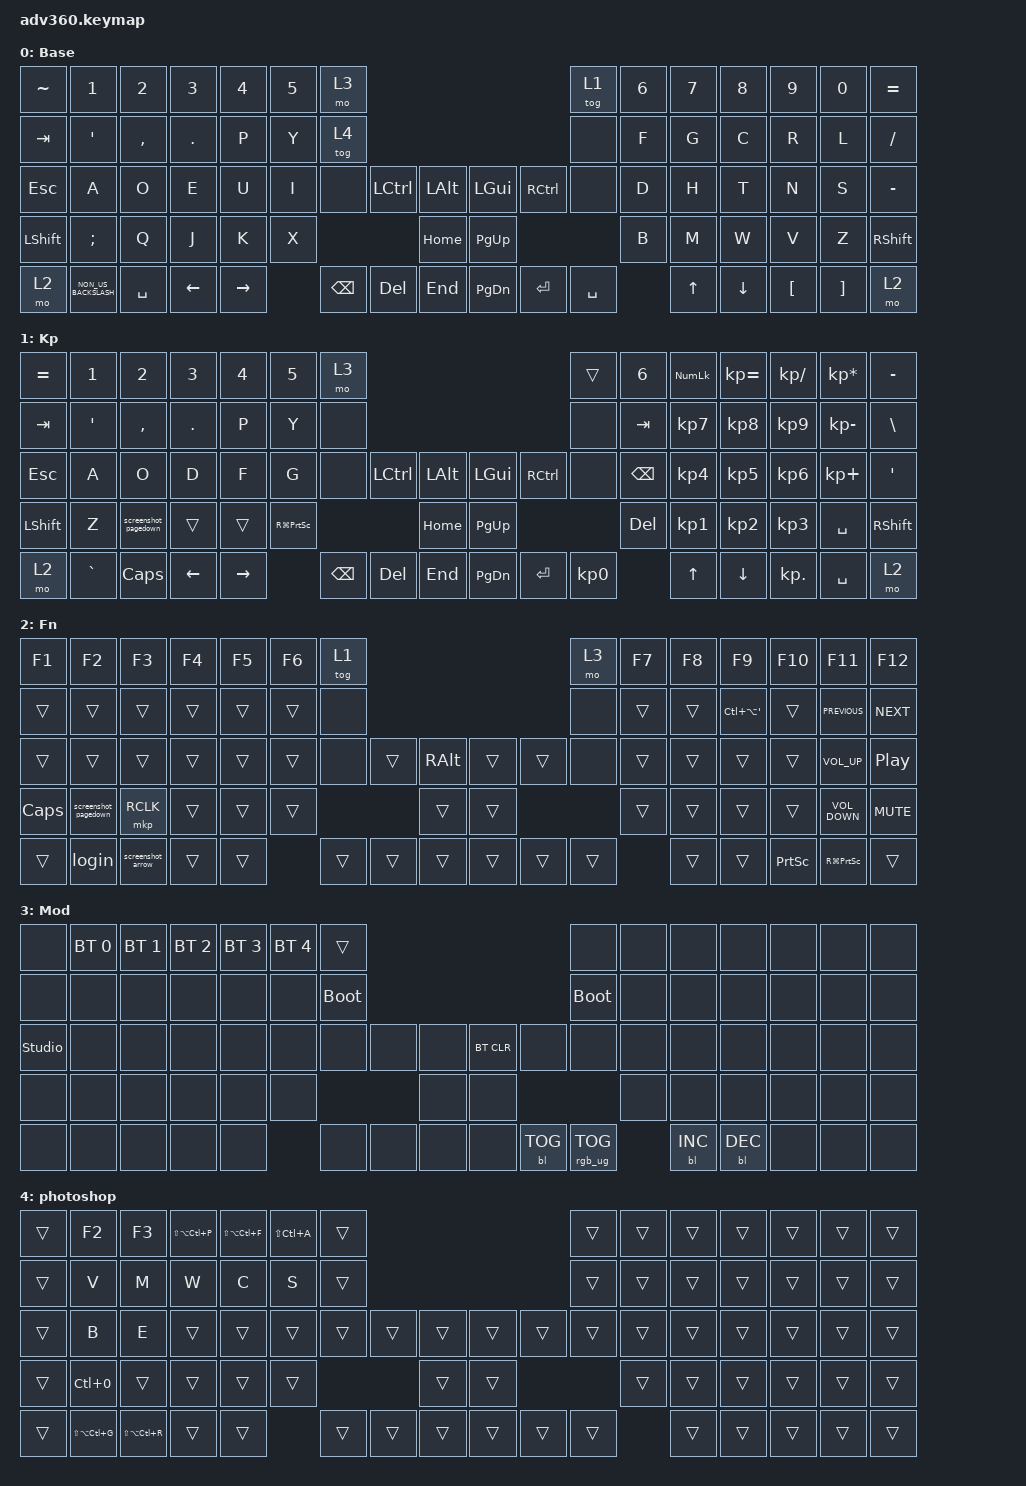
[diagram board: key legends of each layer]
#include <dt-bindings/zmk/stp.h>
#include <behaviors.dtsi>
#include <dt-bindings/zmk/backlight.h>
#include <dt-bindings/zmk/bt.h>
#include <dt-bindings/zmk/keys.h>
#include <dt-bindings/zmk/pointing.h>
#include <dt-bindings/zmk/rgb.h>

/ {
    behaviors {
        #include "macros.dtsi"
      #include "version.dtsi"

        hm: homerow_mods {
            compatible = "zmk,behavior-hold-tap";
            label = "HOMEROW_MODS";
            #binding-cells = <2>;
            tapping-term-ms = <200>;
            quick_tap_ms = <175>;
            flavor = "tap-preferred";
            bindings = <&kp>, <&kp>;
        };
    };

    macros {
        screenshot_pagedown: screenshot_pagedown {
            compatible = "zmk,behavior-macro";
            #binding-cells = <0>;
            bindings = <&macro_wait_time 500>, <&kp RG(PRINTSCREEN) &kp RIGHT>;

            label = "SCREENSHOT_PAGEDOWN";
            wait-ms = <0>;
        };

        login: login {
            compatible = "zmk,behavior-macro";
            #binding-cells = <0>;
            bindings = <&none &kp T &kp O &kp M>;
            label = "LOGIN";
        };

        screenshot_arrow: screenshot_arrow {
            compatible = "zmk,behavior-macro";
            #binding-cells = <0>;
            bindings = <&kp RG(PRINTSCREEN) &kp DOWN_ARROW &kp DOWN &kp DOWN &kp DOWN &kp DOWN &kp DOWN &kp DOWN &kp DOWN_ARROW &kp DOWN_ARROW &kp DOWN_ARROW &kp DOWN_ARROW &kp DOWN_ARROW &kp DOWN_ARROW &kp DOWN_ARROW &kp DOWN_ARROW &kp DOWN_ARROW &kp DOWN_ARROW &kp DOWN_ARROW &kp DOWN_ARROW &kp DOWN_ARROW &kp DOWN_ARROW &kp DOWN_ARROW &kp DOWN_ARROW &kp DOWN &kp DOWN_ARROW &kp DOWN_ARROW &kp DOWN_ARROW &kp DOWN_ARROW &kp DOWN_ARROW &kp DOWN_ARROW &kp DOWN_ARROW &kp DOWN_ARROW &kp DOWN_ARROW &kp DOWN_ARROW &kp DOWN_ARROW &kp DOWN_ARROW &kp DOWN_ARROW &kp DOWN_ARROW &kp DOWN_ARROW &kp DOWN_ARROW>;
            label = "SCREENSHOT_ARROW";
        };
    };

    keymap {
        compatible = "zmk,keymap";

        default_layer {
            display-name = "Base";
            bindings = <
&kp TILDE  &kp N1                &kp N2     &kp N3      &kp N4     &kp N5  &mo 3                                                        &tog 1     &kp N6  &kp N7  &kp N8    &kp N9    &kp N0    &kp EQUAL
&kp TAB    &kp SQT               &kp COMMA  &kp PERIOD  &kp P      &kp Y   &tog 4                                                       &none      &kp F   &kp G   &kp C     &kp R     &kp L     &kp SLASH
&kp ESC    &kp A                 &kp O      &kp E       &kp U      &kp I   &none     &kp LCTRL  &kp LALT      &kp LGUI       &kp RCTRL  &none      &kp D   &kp H   &kp T     &kp N     &kp S     &kp MINUS
&kp LSHFT  &kp SEMICOLON         &kp Q      &kp J       &kp K      &kp X                        &kp HOME      &kp PAGE_UP                          &kp B   &kp M   &kp W     &kp V     &kp Z     &kp RSHFT
&mo 2      &kp NON_US_BACKSLASH  &kp SPACE  &kp LEFT    &kp RIGHT          &kp BSPC  &kp DEL    &kp END       &kp PAGE_DOWN  &kp ENTER  &kp SPACE          &kp UP  &kp DOWN  &kp LBKT  &kp RBKT  &mo 2
            >;
        };

        keypad {
            display-name = "Kp";
            bindings = <
&kp EQUAL  &kp N1     &kp N2                &kp N3      &kp N4     &kp N5         &mo 3                                                    &trans     &kp N6         &kp KP_NUM  &kp KP_EQUAL  &kp KP_DIVIDE  &kp KP_MULTIPLY  &kp MINUS
&kp TAB    &kp APOS   &kp COMMA             &kp PERIOD  &kp P      &kp Y          &none                                                    &none      &kp TAB        &kp KP_N7   &kp KP_N8     &kp KP_N9      &kp KP_MINUS     &kp BSLH
&kp ESC    &kp A      &kp O                 &kp D       &kp F      &kp G          &none     &kp LCTRL  &kp LALT      &kp LGUI   &kp RCTRL  &none      &kp BACKSPACE  &kp KP_N4   &kp KP_N5     &kp KP_N6      &kp KP_PLUS      &kp SQT
&kp LSHFT  &kp Z      &screenshot_pagedown  &trans      &trans     &kp RG(PSCRN)                       &kp HOME      &kp PG_UP                        &kp DELETE     &kp KP_N1   &kp KP_N2     &kp KP_N3      &kp SPACE        &kp RSHFT
&mo 2      &kp GRAVE  &kp CAPS              &kp LEFT    &kp RIGHT                 &kp BSPC  &kp DEL    &kp END       &kp PG_DN  &kp ENTER  &kp KP_N0                 &kp UP      &kp DOWN      &kp KP_DOT     &kp SPACE        &mo 2
            >;
        };

        fn {
            display-name = "Fn";
            bindings = <
&kp F1    &kp F2                &kp F3             &kp F4  &kp F5  &kp F6  &tog 1                                             &mo 3   &kp F7  &kp F8  &kp F9           &kp F10    &kp F11            &kp F12
&trans    &trans                &trans             &trans  &trans  &trans  &none                                              &none   &trans  &trans  &kp LC(LA(SQT))  &trans     &kp C_PREVIOUS     &kp C_NEXT
&trans    &trans                &trans             &trans  &trans  &trans  &none   &trans  &kp RIGHT_ALT      &trans  &trans  &none   &trans  &trans  &trans           &trans     &kp C_VOLUME_UP    &kp C_PLAY_PAUSE
&kp CAPS  &screenshot_pagedown  &mkp RCLK          &trans  &trans  &trans                  &trans             &trans                  &trans  &trans  &trans           &trans     &kp C_VOLUME_DOWN  &kp C_MUTE
&trans    &login                &screenshot_arrow  &trans  &trans          &trans  &trans  &trans             &trans  &trans  &trans          &trans  &trans           &kp PSCRN  &kp RG(PSCRN)      &trans
            >;
        };

        mod {
            display-name = "Mod";
            bindings = <
&none           &bt BT_SEL 0  &bt BT_SEL 1  &bt BT_SEL 2  &bt BT_SEL 3  &bt BT_SEL 4  &trans                                                 &none            &none  &none       &none       &none  &none  &none
&none           &none         &none         &none         &none         &none         &bootloader                                            &bootloader      &none  &none       &none       &none  &none  &none
&studio_unlock  &none         &none         &none         &none         &none         &none        &none  &none      &bt BT_CLR  &none       &none            &none  &none       &none       &none  &none  &none
&none           &none         &none         &none         &none         &none                             &none      &none                                    &none  &none       &none       &none  &none  &none
&none           &none         &none         &none         &none                       &none        &none  &none      &none       &bl BL_TOG  &rgb_ug RGB_TOG         &bl BL_INC  &bl BL_DEC  &none  &none  &none
            >;
        };

        photoshop {
            bindings = <
&trans  &kp F2             &kp F3             &kp LS(LA(LC(P)))  &kp LS(LA(LC(F)))  &kp LS(LC(A))  &trans                                      &trans  &trans  &trans  &trans  &trans  &trans  &trans
&trans  &kp V              &kp M              &kp W              &kp C              &kp S          &trans                                      &trans  &trans  &trans  &trans  &trans  &trans  &trans
&trans  &kp B              &kp E              &trans             &trans             &trans         &trans  &trans  &trans      &trans  &trans  &trans  &trans  &trans  &trans  &trans  &trans  &trans
&trans  &kp LC(N0)         &trans             &trans             &trans             &trans                         &trans      &trans                  &trans  &trans  &trans  &trans  &trans  &trans
&trans  &kp LS(LA(LC(G)))  &kp LS(LA(LC(R)))  &trans             &trans                            &trans  &trans  &trans      &trans  &trans  &trans          &trans  &trans  &trans  &trans  &trans
            >;
        };

        extra1 {
            display-name = "Red";
            status = "reserved";
        };

        extra2 {
            display-name = "Purple";
            status = "reserved";
        };

        extra3 {
            display-name = "Cyan";
            status = "reserved";
        };

        extra4 {
            display-name = "Yellow";
            status = "reserved";
        };
    };
};
